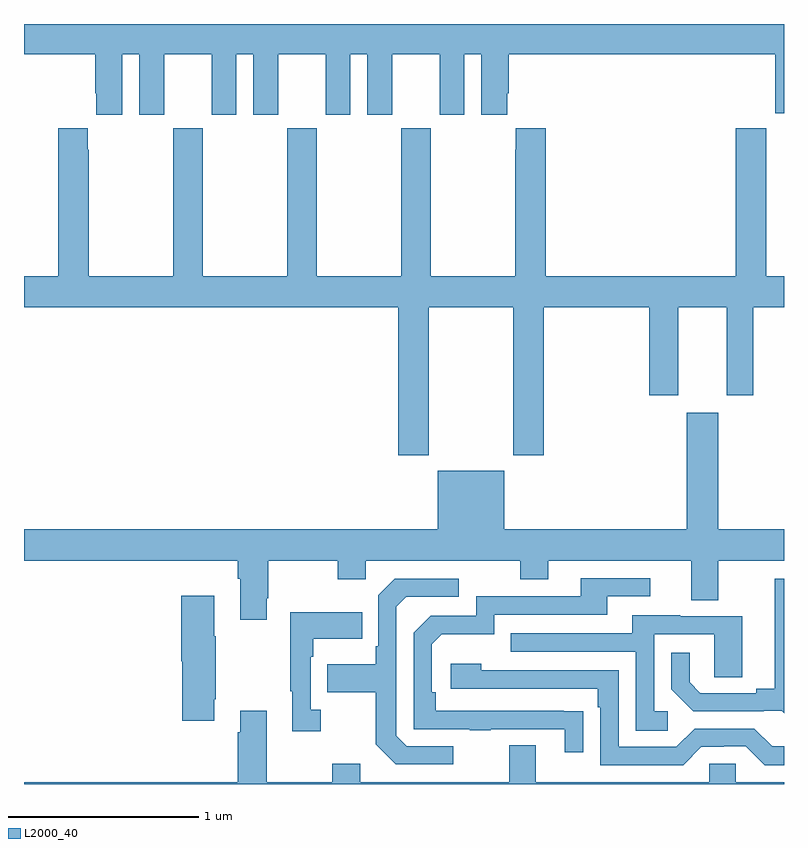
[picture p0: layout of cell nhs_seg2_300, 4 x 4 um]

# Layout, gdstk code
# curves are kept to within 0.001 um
import gdstk
lib = gdstk.Library(unit=1e-6, precision=1e-09)
def P(c, l, *ps):  # polygons
    for p in ps: c.add(gdstk.Polygon(p, *l))
L2000_40 = (2000, 40)

nhs_seg2_300 = lib.new_cell('nhs_seg2_300')
P(nhs_seg2_300, L2000_40, [(125.518,643.64),(125.606,643.64),(125.606,643.323),(125.737,643.323),(125.737,643.64),(125.987,643.64),(125.987,643.323),(126.118,643.323),(126.118,643.64),(126.206,643.64),(126.206,643.323),(126.337,643.323),(126.337,643.64),(126.587,643.64),(126.587,643.323),(126.718,643.323),(126.718,643.64),(126.806,643.64),(126.806,643.323),(126.937,643.323),(126.937,643.64),(127.187,643.64),(127.187,643.323),(127.318,643.323),(127.318,643.64),(127.406,643.64),(127.406,643.323),(127.543,643.323),(127.543,643.435),(127.55,643.435),(127.55,643.64),(128.954,643.64),(128.954,643.331),(129,643.331),(129,643.8),(125,643.8),(125,643.64),(125.375,643.64),(125.375,643.435),(125.381,643.435),(125.381,643.323),(125.518,643.323)],
  [(127.131,642.308),(127.576,642.308),(127.576,641.529),(127.736,641.529),(127.736,642.308),(128.291,642.308),(128.291,641.847),(128.443,641.847),(128.443,642.308),(128.699,642.308),(128.699,641.847),(128.839,641.847),(128.839,642.308),(129,642.308),(129,642.472),(128.907,642.472),(128.907,643.252),(128.747,643.252),(128.747,642.472),(127.745,642.472),(127.745,643.252),(127.589,643.252),(127.589,643.139),(127.585,643.139),(127.585,642.472),(127.14,642.472),(127.14,643.252),(126.985,643.252),(126.985,642.472),(126.54,642.472),(126.54,643.252),(126.385,643.252),(126.385,642.472),(125.94,642.472),(125.94,643.252),(125.785,643.252),(125.785,642.472),(125.34,642.472),(125.34,643.139),(125.335,643.139),(125.335,643.252),(125.18,643.252),(125.18,642.472),(125,642.472),(125,642.308),(126.971,642.308),(126.971,641.529),(127.131,641.529)],
  [(126.277,640.777),(126.285,640.777),(126.285,640.976),(126.652,640.976),(126.652,640.877),(126.798,640.877),(126.798,640.976),(127.612,640.976),(127.612,640.877),(127.759,640.877),(127.759,640.976),(128.513,640.976),(128.513,640.768),(128.653,640.768),(128.653,640.976),(129,640.976),(129,641.14),(128.653,641.14),(128.653,641.755),(128.489,641.755),(128.489,641.14),(127.528,641.14),(127.528,641.449),(127.178,641.449),(127.178,641.14),(125,641.14),(125,640.976),(126.125,640.976),(126.125,640.88),(126.137,640.88),(126.137,640.665),(126.277,640.665)],
  [(127.943,640.184),(127.166,640.185),(127.166,640.282),(127.146,640.282),(127.146,640.536),(127.199,640.589),(127.476,640.589),(127.476,640.692),(128.071,640.692),(128.071,640.788),(128.296,640.788),(128.296,640.884),(127.931,640.884),(127.931,640.788),(127.38,640.788),(127.38,640.686),(127.14,640.686),(127.05,640.596),(127.05,640.089),(127.345,640.089),(127.345,640.084),(127.457,640.084),(127.457,640.089),(127.847,640.089),(127.847,639.966),(127.943,639.966)],
  [(129,640.881),(128.951,640.881),(128.951,640.301),(128.855,640.301),(128.855,640.278),(128.56,640.278),(128.503,640.335),(128.503,640.492),(128.406,640.492),(128.406,640.298),(128.522,640.182),(128.894,640.182),(128.894,640.185),(128.988,640.185),(129,640.173)],
  [(127.258,639.999),(127.014,639.999),(126.96,640.053),(126.96,640.734),(127.011,640.785),(127.288,640.785),(127.288,640.881),(126.951,640.881),(126.864,640.794),(126.864,640.525),(126.852,640.525),(126.852,640.429),(126.595,640.429),(126.595,640.282),(126.852,640.282),(126.852,640.009),(126.957,639.903),(127.258,639.903)],
  [(126.001,640.246),(126.009,640.246),(126.009,640.577),(126.001,640.577),(126.001,640.792),(125.828,640.792),(125.828,640.446),(125.834,640.446),(125.834,640.134),(126.001,640.134)],
  [(126.562,640.19),(126.51,640.19),(126.51,640.469),(126.523,640.469),(126.523,640.565),(126.779,640.565),(126.779,640.705),(126.402,640.705),(126.402,640.289),(126.413,640.289),(126.413,640.077),(126.562,640.077)],
  [(128.389,640.182),(128.316,640.182),(128.316,640.587),(128.634,640.587),(128.634,640.363),(128.779,640.363),(128.779,640.683),(128.455,640.683),(128.455,640.687),(128.201,640.687),(128.201,640.593),(127.561,640.593),(127.561,640.497),(128.22,640.497),(128.22,640.081),(128.389,640.081)],
  [(129,639.999),(128.937,639.999),(128.844,640.092),(128.529,640.092),(128.433,639.996),(128.13,639.996),(128.13,640.398),(127.406,640.398),(127.406,640.432),(127.245,640.432),(127.245,640.302),(128.021,640.302),(128.021,640.205),(128.034,640.205),(128.034,639.9),(128.469,639.9),(128.565,639.996),(128.684,639.996),(128.684,639.999),(128.799,639.999),(128.899,639.899),(129,639.899)],
  [(129,639.808),(128.745,639.808),(128.745,639.906),(128.607,639.906),(128.607,639.808),(127.693,639.808),(127.693,640.003),(127.553,640.003),(127.553,639.808),(126.769,639.808),(126.769,639.907),(126.622,639.907),(126.622,639.808),(126.277,639.808),(126.277,640.186),(126.137,640.186),(126.137,640.073),(126.125,640.073),(126.125,639.808),(125,639.808),(125,639.8),(129,639.8)])

lib.write_gds('nhs_seg2_300.gds')
